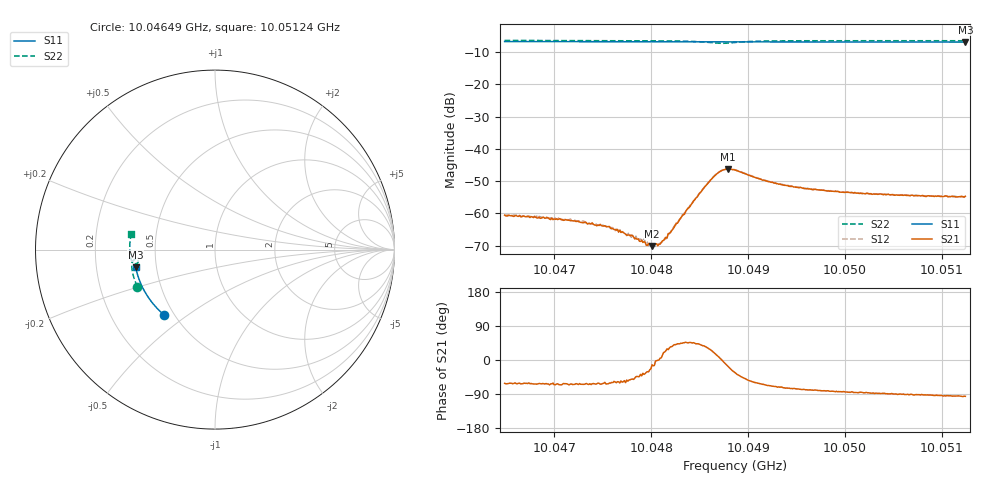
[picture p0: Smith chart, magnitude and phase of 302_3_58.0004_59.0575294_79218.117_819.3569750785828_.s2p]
#  HZ  S  RI  R  50.00
! Rohde & Schwarz Vector Network Analyzer
! Rohde-Schwarz,ZNB20-2Port,1311601062101988,3.16
! Created: UTC 3/21/2024, 1:03:51 AM
! freq[Hz]  re:S11  im:S11  re:S21  im:S21  re:S12  im:S12  re:S22  im:S22
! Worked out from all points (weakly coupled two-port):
!   401 points, 10.04649 GHz to 10.05124 GHz, reference 50 ohm
!   highest |S21| = -46.21 dB at 10.04879 GHz (marker M1); lowest = -70.0 dB at 10.04801 GHz (marker M2)
!   lowest |S11| = -6.9 dB at 10.05124 GHz (marker M3), VSWR 2.65, Z = 19 - j4.72 ohm
!   |S11| at or under -10 dB: nowhere
!   |S22| runs from -7.3 to -6.4 dB; largest |S21 - S12| = 0.00034
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1.0046486e10  -0.2851 -0.3623  0.000448 -0.000829  0.000512 -0.000769  -0.4333 -0.2061
1.0046902e10  -0.3055 -0.3441  0.000379 -0.00075  0.000438 -0.000769  -0.4437 -0.1801
1.0047283e10  -0.3234 -0.3263  0.000316 -0.000652  0.000368 -0.000665  -0.4521 -0.1553
1.0047544e10  -0.3349 -0.3135  0.000282 -0.000556  0.000318 -0.000525  -0.4569 -0.1378
1.0047794e10  -0.3457 -0.3011  0.000293 -0.000356  0.000277 -0.000324  -0.4607 -0.12
1.0047936e10  -0.3515 -0.2936  0.000287 -0.000209  0.000317 -0.000184  -0.4623 -0.1096
1.004796e10  -0.3525 -0.2923  0.000275 -0.000164  0.000313 -0.000176  -0.4627 -0.1075
1.0048008e10  -0.3544 -0.2898  0.000307 -6.91e-05  0.000337 -5.9e-05  -0.463 -0.104
1.0048043e10  -0.3558 -0.2879  0.000338 -1.57e-05  0.000311 1.5e-05  -0.4634 -0.1012
1.0048079e10  -0.3573 -0.2861  0.000333 7.58e-07  0.000338 3.04e-05  -0.4636 -0.0983
1.0048174e10  -0.361 -0.2811  0.000434 0.000224  0.000392 0.000245  -0.4639 -0.0903
1.0048317e10  -0.3665 -0.2734  0.000652 0.00063  0.000642 0.00069  -0.4626 -0.0776
1.0048614e10  -0.3772 -0.257  0.00298 0.00147  0.00292 0.00164  -0.4412 -0.0537
1.0048709e10  -0.3803 -0.2518  0.00445 0.000351  0.00446 0.000653  -0.4294 -0.0604
1.0048792e10  -0.3832 -0.2474  0.00467 -0.00146  0.00478 -0.00116  -0.4302 -0.073
1.0048864e10  -0.3855 -0.2435  0.00394 -0.0026  0.0041 -0.00236  -0.4395 -0.0782
1.0049208e10  -0.3969 -0.2238  0.0012 -0.00286  0.00138 -0.00282  -0.4678 -0.0546
1.0049446e10  -0.4041 -0.2098  0.000678 -0.00255  0.000853 -0.00253  -0.4726 -0.0351
1.004966e10  -0.4102 -0.1971  0.000432 -0.0023  0.00059 -0.0023  -0.4747 -0.0187
1.0049957e10  -0.4178 -0.1791  0.000241 -0.00213  0.000378 -0.00211  -0.4756 0.00266
1.0050457e10  -0.429 -0.1482  2.35e-05 -0.00195  0.00015 -0.00196  -0.4742 0.0373
1.0051241e10  -0.4418 -0.0985  -0.000188 -0.00184  -9.99e-05 -0.0018  -0.4669 0.0893
